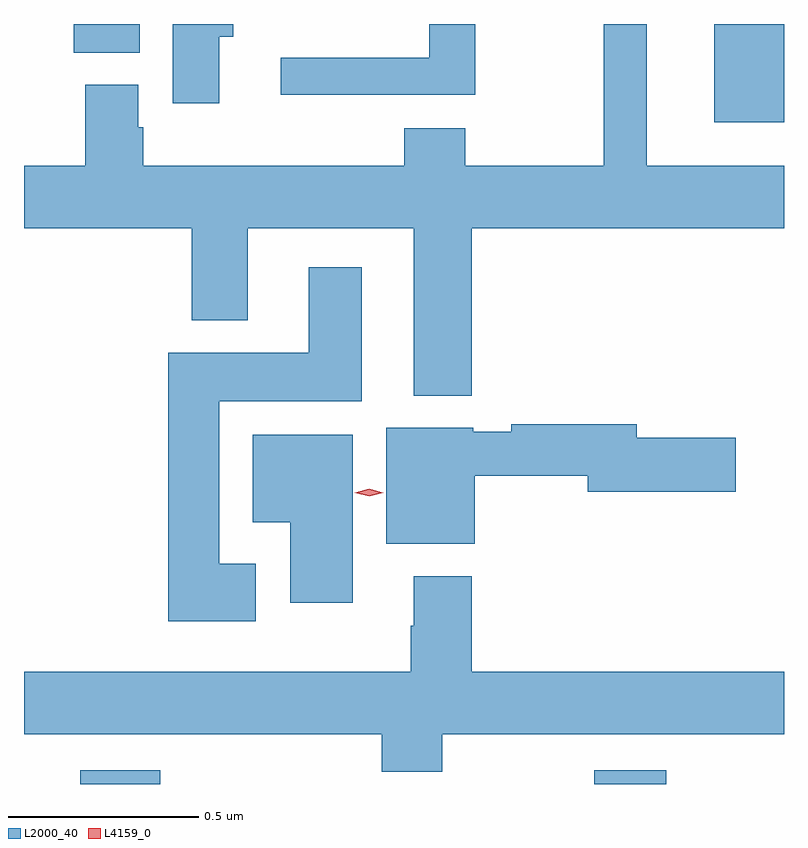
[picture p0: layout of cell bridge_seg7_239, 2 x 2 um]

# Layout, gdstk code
import gdstk
lib = gdstk.Library(unit=1e-6, precision=1e-09)
def R(c, l, rs):  # rectangles x0, y0, x1, y1
    for r in rs: c.add(gdstk.rectangle(r[:2], r[2:], *l))
def P(c, l, *ps):  # polygons
    for p in ps: c.add(gdstk.Polygon(p, *l))
L2000_40 = (2000, 40)
L4159_0 = (4159, 0)

bridge_seg7_239 = lib.new_cell('bridge_seg7_239')
R(bridge_seg7_239, L2000_40, [(273.232,1027.125,273.442,1027.161), (274.584,1027.125,274.774,1027.161), (274.901,1028.867,275.084,1029.125), (273.215,1029.05,273.388,1029.125)])
P(bridge_seg7_239, L2000_40, [(274.272,1029.125),(274.151,1029.125),(274.151,1029.036),(273.759,1029.036),(273.759,1028.939),(274.272,1028.939)],
  [(274.262,1028.588),(275.084,1028.588),(275.084,1028.752),(274.723,1028.752),(274.723,1029.125),(274.609,1029.125),(274.609,1028.752),(274.245,1028.752),(274.245,1028.851),(274.085,1028.851),(274.085,1028.752),(273.398,1028.752),(273.398,1028.853),(273.385,1028.853),(273.385,1028.965),(273.245,1028.965),(273.245,1028.752),(273.084,1028.752),(273.084,1028.588),(273.526,1028.588),(273.526,1028.345),(273.673,1028.345),(273.673,1028.588),(274.109,1028.588),(274.109,1028.147),(274.262,1028.147)],
  [(273.598,1029.092),(273.634,1029.092),(273.634,1029.125),(273.476,1029.125),(273.476,1028.916),(273.598,1028.916)],
  [(273.694,1027.705),(273.598,1027.705),(273.598,1028.132),(273.973,1028.132),(273.973,1028.485),(273.833,1028.485),(273.833,1028.26),(273.464,1028.26),(273.464,1027.553),(273.694,1027.553)],
  [(274.27,1027.936),(274.568,1027.936),(274.568,1027.894),(274.957,1027.894),(274.957,1028.036),(274.696,1028.036),(274.696,1028.072),(274.366,1028.072),(274.366,1028.052),(274.266,1028.052),(274.266,1028.062),(274.037,1028.062),(274.037,1027.757),(274.27,1027.757)],
  [(273.949,1028.044),(273.686,1028.044),(273.686,1027.814),(273.785,1027.814),(273.785,1027.602),(273.949,1027.602)],
  [(274.185,1027.256),(275.084,1027.256),(275.084,1027.42),(274.262,1027.42),(274.262,1027.672),(274.109,1027.672),(274.109,1027.541),(274.102,1027.541),(274.102,1027.42),(273.084,1027.42),(273.084,1027.256),(274.025,1027.256),(274.025,1027.157),(274.185,1027.157)])
P(bridge_seg7_239, L4159_0, [(273.993,1027.882),(273.955,1027.892),(273.955,1027.892),(273.955,1027.892),(273.993,1027.902),(274.03,1027.892),(274.03,1027.892),(274.03,1027.892)])

lib.write_gds('bridge_seg7_239.gds')
